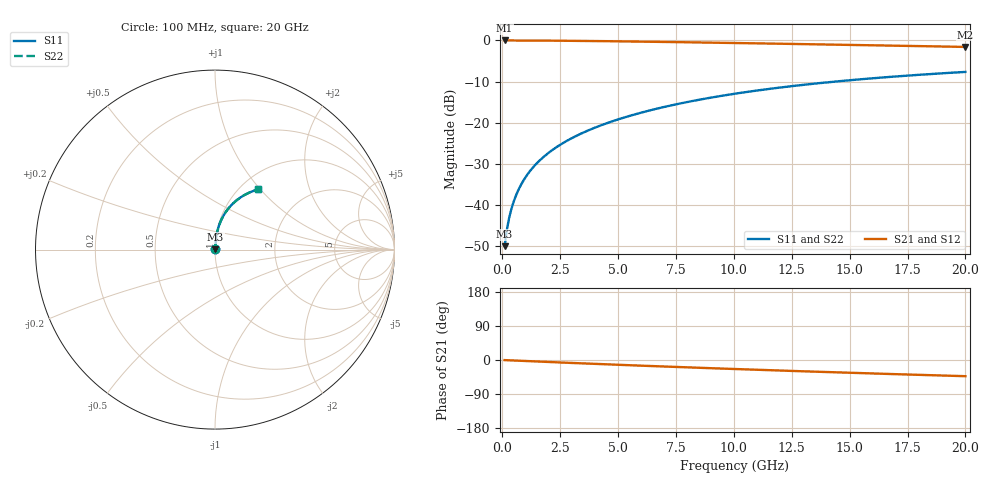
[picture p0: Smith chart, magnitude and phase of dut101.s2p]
! Touchstone file exported from HFSS 2024.1.0
!  File:  C:/UserFiles/LocalFiles/RDL_TSV_Batchsim/temp_RDL_bottom_101_1778695210.aedt
!  Generated:  02:02:34 AM May 14, 2026
!  Design:  RDL_bottom
!  Project:  temp_RDL_bottom_101_1778695210
!  Setup:  Setup1
!  Solution:  Sweep
! Variables:
!  dtsv = 10.80580581um
!  hbump = 3um
!  htsv = 61.72um
!  ldown = 582.79um
!  lrdl = 100um
!  p = 40
!  p1 = 58.15um
!  rhole = 1um
!  t = 450um
!  tdown = 4.86um
!  trdl = 3.915915916um
!  wdown = 20.9um
!  wrdl = 20um
# GHz S MA R 50.000000
! Terminal data exported
! Port[1] = RDL1_T1
! Port[2] = RDL1_T2
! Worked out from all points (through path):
!   200 points, 100 MHz to 20 GHz, reference 50 ohm
!   highest |S21| = -0.02 dB at 100 MHz (marker M1); lowest = -1.6 dB at 20 GHz (marker M2)
!   group delay of S21, straight-line fit = 5.89 ps
!   lowest |S11| = -50.0 dB at 100 MHz (marker M3), VSWR 1.01, Z = 50.2 + j0.229 ohm
!   |S11| at or under -10 dB: start of sweep to 14.4 GHz
!   |S22| runs from -50.0 to -7.7 dB; largest |S21 - S12| = 6.3e-15
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0.1  0.003156 46.3  0.9978 -0.3  0.9978 -0.3  0.003156 46.3
! Gamma 0 0 0 0
! Port Impedance 50 0 50 0
0.2  0.005041 62.8  0.9977 -0.5  0.9977 -0.5  0.005041 62.8
0.3  0.007053 70.0  0.9975 -0.8  0.9975 -0.8  0.007053 70.0
0.4  0.009094 74.0  0.9974 -1.1  0.9974 -1.1  0.009095 74.0
0.5  0.01116 76.6  0.9972 -1.3  0.9972 -1.3  0.01116 76.6
0.7  0.01532 79.7  0.9969 -1.9  0.9969 -1.9  0.01532 79.7
0.8  0.01742 80.7  0.9967 -2.1  0.9967 -2.1  0.01742 80.7
1  0.02164 82.1  0.9963 -2.6  0.9963 -2.6  0.02164 82.1
1.2  0.02589 83.0  0.9958 -3.2  0.9958 -3.2  0.02589 83.0
1.4  0.03015 83.5  0.9952 -3.7  0.9952 -3.7  0.03015 83.5
1.7  0.03657 84.0  0.9942 -4.5  0.9942 -4.5  0.03657 84.0
2  0.04303 84.3  0.993 -5.2  0.993 -5.2  0.04303 84.3
2.7  0.05823 84.3  0.9896 -7.0  0.9896 -7.0  0.05822 84.3
3.5  0.07583 83.9  0.9848 -9.0  0.9848 -9.0  0.07582 83.9
4.2  0.09145 83.2  0.98 -10.7  0.98 -10.7  0.09143 83.2
5  0.1095 82.3  0.974 -12.6  0.974 -12.6  0.1095 82.2
6.8  0.1508 79.5  0.959 -16.8  0.959 -16.8  0.1508 79.5
8.4  0.1876 76.6  0.9447 -20.3  0.9447 -20.3  0.1875 76.6
10.1  0.226 73.3  0.9289 -23.9  0.9289 -23.9  0.2259 73.3
13.4  0.2963 66.7  0.8971 -30.6  0.8971 -30.6  0.2962 66.6
16.7  0.3592 60.2  0.8648 -36.9  0.8648 -36.9  0.359 60.2
20  0.4138 54.2  0.8327 -42.7  0.8327 -42.7  0.4135 54.2
